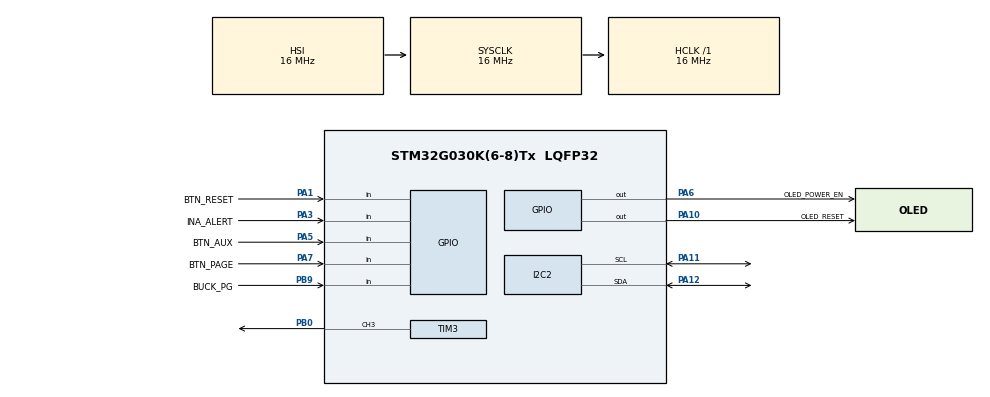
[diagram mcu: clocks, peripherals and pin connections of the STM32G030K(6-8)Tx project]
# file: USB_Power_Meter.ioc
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I2C2.Timing=0x00503D58
Mcu.Family=STM32G0
Mcu.Name=STM32G030K(6-8)Tx
Mcu.Package=LQFP32
PA1.GPIO_Label=BTN_RESET
PA1.GPIO_PuPd=GPIO_PULLUP
PA1.Signal=GPIO_Input
PA10.GPIO_Label=OLED_RESET
PA10.Signal=GPIO_Output
PA11\ [PA9].Mode=I2C
PA11\ [PA9].Signal=I2C2_SCL
PA12\ [PA10].Mode=I2C
PA12\ [PA10].Signal=I2C2_SDA
PA13.Mode=Serial_Wire
PA13.Signal=SYS_SWDIO
PA14-BOOT0.Mode=Serial_Wire
PA14-BOOT0.Signal=SYS_SWCLK
PA3.GPIO_Label=INA_ALERT
PA3.Signal=GPIO_Input
PA5.GPIO_Label=BTN_AUX
PA5.GPIO_PuPd=GPIO_PULLUP
PA5.Signal=GPIO_Input
PA6.GPIO_Label=OLED_POWER_EN
PA6.Signal=GPIO_Output
PA7.GPIO_Label=BTN_PAGE
PA7.GPIO_PuPd=GPIO_PULLUP
PA7.Signal=GPIO_Input
PB0.Signal=S_TIM3_CH3
PB9.GPIO_Label=BUCK_PG
PB9.Signal=GPIO_Input
ProjectManager.HeapSize=0x200
ProjectManager.StackSize=0x400
ProjectManager.TargetToolchain=STM32CubeIDE
RCC.AHBFreq_Value=16000000
RCC.CortexFreq_Value=16000000
RCC.EXTERNAL_CLOCK_VALUE=12288000
RCC.HCLKFreq_Value=16000000
RCC.HSE_VALUE=8000000
RCC.HSI_VALUE=16000000
RCC.LSE_VALUE=32768
RCC.SYSCLKFreq_VALUE=16000000
RCC.VCOOutputFreq_Value=128000000
SH.S_TIM3_CH3.0=TIM3_CH3,PWM Generation3 CH3
TIM3.Channel-PWM\ Generation3\ CH3=TIM_CHANNEL_3
TIM3.Period=999
TIM3.Prescaler=15
TIM3.Pulse-PWM\ Generation3\ CH3=499
board=custom

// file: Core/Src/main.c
/* USER CODE BEGIN Header */
/**
  ******************************************************************************
  * @file           : main.c
  * @brief          : Main program body
  ******************************************************************************
  * @attention
  *
  * Copyright (c) 2026 STMicroelectronics.
  * All rights reserved.
  *
  * This software is licensed under terms that can be found in the LICENSE file
  * in the root directory of this software component.
  * If no LICENSE file comes with this software, it is provided AS-IS.
  *
  ******************************************************************************
  */
/* USER CODE END Header */
#include "main.h"

/* USER CODE BEGIN Includes */
#include "oled.h"
#include "ina238.h"
#include "banana.h"
#include "boot.h"
#include "meter.h"
#include <stdio.h>
/* USER CODE END Includes */

/* USER CODE BEGIN PD */
#define NOTE_C4   262
#define NOTE_D4   294
#define NOTE_E4   330
#define NOTE_F4   349
#define NOTE_G4   392
#define NOTE_A4   440
#define NOTE_B4   494
#define NOTE_C5   523
#define NOTE_D5   587
#define NOTE_E5   659
#define NOTE_F5   698
#define NOTE_G5   784
#define NOTE_REST 0

#define Q   300
#define H   600
#define DQ  450
#define E8  150
/* USER CODE END PD */

I2C_HandleTypeDef hi2c2;

TIM_HandleTypeDef htim3;

/* USER CODE BEGIN PV */
uint8_t g_muted = 0;
/* USER CODE END PV */

void SystemClock_Config(void);
static void MX_GPIO_Init(void);
static void MX_I2C2_Init(void);
static void MX_TIM3_Init(void);
/* USER CODE BEGIN PFP */
void Buzzer_Tone(uint32_t freq_hz, uint32_t duration_ms);
void Buzzer_Off(void);
void Play_Song1(void);
void Play_Song2(void);
void Play_Song3(void);
void HEV_Boot_Sound(void);
/* USER CODE END PFP */

int main(void)
{

  /* MCU Configuration--------------------------------------------------------*/

  /* Reset of all peripherals, Initializes the Flash interface and the Systick. */
  HAL_Init();

  /* Configure the system clock */
  SystemClock_Config();

  /* Initialize all configured peripherals */
  MX_GPIO_Init();
  MX_I2C2_Init();
  MX_TIM3_Init();
  /* USER CODE BEGIN 2 */
  HAL_GPIO_WritePin(OLED_RESET_GPIO_Port, OLED_RESET_Pin, GPIO_PIN_RESET);
  HAL_GPIO_WritePin(OLED_POWER_EN_GPIO_Port, OLED_POWER_EN_Pin, GPIO_PIN_SET);
  HAL_Delay(100);
  HAL_GPIO_WritePin(OLED_RESET_GPIO_Port, OLED_RESET_Pin, GPIO_PIN_SET);
  HAL_Delay(10);
  OLED_Init();
  if (INA238_Init() != HAL_OK)
  {
      OLED_WriteString(3, 0, "INA238 init fail");
      HAL_Delay(2000);
      OLED_Clear();
  }
  HEV_Boot_Sound();
  BOOT_Run();   /* one-shot boot screen with graph animation */
  /* USER CODE END 2 */

  /* Infinite loop */

  /* USER CODE BEGIN 3 */
  METER_Run();   /* handles meter + graph screens + Easter-egg dance; never returns */
  /* USER CODE END 3 */
}

void SystemClock_Config(void)
{
  RCC_OscInitTypeDef RCC_OscInitStruct = {0};
  RCC_ClkInitTypeDef RCC_ClkInitStruct = {0};

  /** Configure the main internal regulator output voltage
  */
  HAL_PWREx_ControlVoltageScaling(PWR_REGULATOR_VOLTAGE_SCALE1);

  /** Initializes the RCC Oscillators according to the specified parameters
  * in the RCC_OscInitTypeDef structure.
  */
  RCC_OscInitStruct.OscillatorType = RCC_OSCILLATORTYPE_HSI;
  RCC_OscInitStruct.HSIState = RCC_HSI_ON;
  RCC_OscInitStruct.HSIDiv = RCC_HSI_DIV1;
  RCC_OscInitStruct.HSICalibrationValue = RCC_HSICALIBRATION_DEFAULT;
  RCC_OscInitStruct.PLL.PLLState = RCC_PLL_NONE;
  if (HAL_RCC_OscConfig(&RCC_OscInitStruct) != HAL_OK)
  {
    Error_Handler();
  }

  /** Initializes the CPU, AHB and APB buses clocks
  */
  RCC_ClkInitStruct.ClockType = RCC_CLOCKTYPE_HCLK|RCC_CLOCKTYPE_SYSCLK
                              |RCC_CLOCKTYPE_PCLK1;
  RCC_ClkInitStruct.SYSCLKSource = RCC_SYSCLKSOURCE_HSI;
  RCC_ClkInitStruct.AHBCLKDivider = RCC_SYSCLK_DIV1;
  RCC_ClkInitStruct.APB1CLKDivider = RCC_HCLK_DIV1;

  if (HAL_RCC_ClockConfig(&RCC_ClkInitStruct, FLASH_LATENCY_0) != HAL_OK)
  {
    Error_Handler();
  }
}

static void MX_I2C2_Init(void)
{

  hi2c2.Instance = I2C2;
  hi2c2.Init.Timing = 0x00503D58;
  hi2c2.Init.OwnAddress1 = 0;
  hi2c2.Init.AddressingMode = I2C_ADDRESSINGMODE_7BIT;
  hi2c2.Init.DualAddressMode = I2C_DUALADDRESS_DISABLE;
  hi2c2.Init.OwnAddress2 = 0;
  hi2c2.Init.OwnAddress2Masks = I2C_OA2_NOMASK;
  hi2c2.Init.GeneralCallMode = I2C_GENERALCALL_DISABLE;
  hi2c2.Init.NoStretchMode = I2C_NOSTRETCH_DISABLE;
  if (HAL_I2C_Init(&hi2c2) != HAL_OK)
  {
    Error_Handler();
  }

  /** Configure Analogue filter
  */
  if (HAL_I2CEx_ConfigAnalogFilter(&hi2c2, I2C_ANALOGFILTER_ENABLE) != HAL_OK)
  {
    Error_Handler();
  }

  /** Configure Digital filter
  */
  if (HAL_I2CEx_ConfigDigitalFilter(&hi2c2, 0) != HAL_OK)
  {
    Error_Handler();
  }

}

static void MX_TIM3_Init(void)
{

  TIM_MasterConfigTypeDef sMasterConfig = {0};
  TIM_OC_InitTypeDef sConfigOC = {0};

  htim3.Instance = TIM3;
  htim3.Init.Prescaler = 15;
  htim3.Init.CounterMode = TIM_COUNTERMODE_UP;
  htim3.Init.Period = 999;
  htim3.Init.ClockDivision = TIM_CLOCKDIVISION_DIV1;
  htim3.Init.AutoReloadPreload = TIM_AUTORELOAD_PRELOAD_DISABLE;
  if (HAL_TIM_PWM_Init(&htim3) != HAL_OK)
  {
    Error_Handler();
  }
  sMasterConfig.MasterOutputTrigger = TIM_TRGO_RESET;
  sMasterConfig.MasterSlaveMode = TIM_MASTERSLAVEMODE_DISABLE;
  if (HAL_TIMEx_MasterConfigSynchronization(&htim3, &sMasterConfig) != HAL_OK)
  {
    Error_Handler();
  }
  sConfigOC.OCMode = TIM_OCMODE_PWM1;
  sConfigOC.Pulse = 499;
  sConfigOC.OCPolarity = TIM_OCPOLARITY_HIGH;
  sConfigOC.OCFastMode = TIM_OCFAST_DISABLE;
  if (HAL_TIM_PWM_ConfigChannel(&htim3, &sConfigOC, TIM_CHANNEL_3) != HAL_OK)
  {
    Error_Handler();
  }
  HAL_TIM_MspPostInit(&htim3);

}

static void MX_GPIO_Init(void)
{
  GPIO_InitTypeDef GPIO_InitStruct = {0};

  /* GPIO Ports Clock Enable */
  __HAL_RCC_GPIOB_CLK_ENABLE();
  __HAL_RCC_GPIOA_CLK_ENABLE();

  /*Configure GPIO pin Output Level */
  HAL_GPIO_WritePin(GPIOA, OLED_POWER_EN_Pin|OLED_RESET_Pin, GPIO_PIN_RESET);

  /*Configure GPIO pin : BUCK_PG_Pin */
  GPIO_InitStruct.Pin = BUCK_PG_Pin;
  GPIO_InitStruct.Mode = GPIO_MODE_INPUT;
  GPIO_InitStruct.Pull = GPIO_NOPULL;
  HAL_GPIO_Init(BUCK_PG_GPIO_Port, &GPIO_InitStruct);

  /*Configure GPIO pins : BTN_RESET_Pin BTN_AUX_Pin BTN_PAGE_Pin */
  GPIO_InitStruct.Pin = BTN_RESET_Pin|BTN_AUX_Pin|BTN_PAGE_Pin;
  GPIO_InitStruct.Mode = GPIO_MODE_INPUT;
  GPIO_InitStruct.Pull = GPIO_PULLUP;
  HAL_GPIO_Init(GPIOA, &GPIO_InitStruct);

  /*Configure GPIO pin : INA_ALERT_Pin */
  GPIO_InitStruct.Pin = INA_ALERT_Pin;
  GPIO_InitStruct.Mode = GPIO_MODE_INPUT;
  GPIO_InitStruct.Pull = GPIO_NOPULL;
  HAL_GPIO_Init(INA_ALERT_GPIO_Port, &GPIO_InitStruct);

  /*Configure GPIO pins : OLED_POWER_EN_Pin OLED_RESET_Pin */
  GPIO_InitStruct.Pin = OLED_POWER_EN_Pin|OLED_RESET_Pin;
  GPIO_InitStruct.Mode = GPIO_MODE_OUTPUT_PP;
  GPIO_InitStruct.Pull = GPIO_NOPULL;
  GPIO_InitStruct.Speed = GPIO_SPEED_FREQ_LOW;
  HAL_GPIO_Init(GPIOA, &GPIO_InitStruct);

}

/* USER CODE BEGIN 4 */

void Buzzer_Off(void)
{
  HAL_TIM_PWM_Stop(&htim3, TIM_CHANNEL_3);
}

void Buzzer_Tone(uint32_t freq_hz, uint32_t duration_ms)
{
  if (freq_hz == NOTE_REST)
  {
    Buzzer_Off();
    HAL_Delay(duration_ms);
    return;
  }
  uint32_t arr = (1000000UL / freq_hz) - 1;
  __HAL_TIM_SET_AUTORELOAD(&htim3, arr);
  __HAL_TIM_SET_COMPARE(&htim3, TIM_CHANNEL_3, arr / 2);
  HAL_TIM_PWM_Start(&htim3, TIM_CHANNEL_3);
  HAL_Delay(duration_ms - 40);
  Buzzer_Off();
  HAL_Delay(40);
}

void Play_Song1(void)
{
  /* Twinkle Twinkle Little Star — BTN_RESET */
  static const uint32_t melody[][2] = {
    {NOTE_C4, Q}, {NOTE_C4, Q}, {NOTE_G4, Q}, {NOTE_G4, Q},
    {NOTE_A4, Q}, {NOTE_A4, Q}, {NOTE_G4, H},
    {NOTE_F4, Q}, {NOTE_F4, Q}, {NOTE_E4, Q}, {NOTE_E4, Q},
    {NOTE_D4, Q}, {NOTE_D4, Q}, {NOTE_C4, H},
    {NOTE_G4, Q}, {NOTE_G4, Q}, {NOTE_F4, Q}, {NOTE_F4, Q},
    {NOTE_E4, Q}, {NOTE_E4, Q}, {NOTE_D4, H},
    {NOTE_G4, Q}, {NOTE_G4, Q}, {NOTE_F4, Q}, {NOTE_F4, Q},
    {NOTE_E4, Q}, {NOTE_E4, Q}, {NOTE_D4, H},
    {NOTE_C4, Q}, {NOTE_C4, Q}, {NOTE_G4, Q}, {NOTE_G4, Q},
    {NOTE_A4, Q}, {NOTE_A4, Q}, {NOTE_G4, H},
    {NOTE_F4, Q}, {NOTE_F4, Q}, {NOTE_E4, Q}, {NOTE_E4, Q},
    {NOTE_D4, Q}, {NOTE_D4, Q}, {NOTE_C4, H},
  };
  for (uint32_t i = 0; i < sizeof(melody) / sizeof(melody[0]); i++)
    Buzzer_Tone(melody[i][0], melody[i][1]);
}

void Play_Song2(void)
{
  /* Happy Birthday — BTN_AUX */
  static const uint32_t melody[][2] = {
    {NOTE_G4, DQ}, {NOTE_G4, E8}, {NOTE_A4, Q}, {NOTE_G4, Q}, {NOTE_C5, Q}, {NOTE_B4, H}, {NOTE_REST, Q},
    {NOTE_G4, DQ}, {NOTE_G4, E8}, {NOTE_A4, Q}, {NOTE_G4, Q}, {NOTE_D5, Q}, {NOTE_C5, H}, {NOTE_REST, Q},
    {NOTE_G4, DQ}, {NOTE_G4, E8}, {NOTE_G5, Q}, {NOTE_E5, Q}, {NOTE_C5, Q}, {NOTE_B4, Q}, {NOTE_A4, H}, {NOTE_REST, Q},
    {NOTE_F5, DQ}, {NOTE_F5, E8}, {NOTE_E5, Q}, {NOTE_C5, Q}, {NOTE_D5, Q}, {NOTE_C5, H},
  };
  for (uint32_t i = 0; i < sizeof(melody) / sizeof(melody[0]); i++)
    Buzzer_Tone(melody[i][0], melody[i][1]);
}

void Play_Song3(void)
{
  /* Mary Had a Little Lamb — BTN_PAGE */
  static const uint32_t melody[][2] = {
    {NOTE_E4, Q}, {NOTE_D4, Q}, {NOTE_C4, Q}, {NOTE_D4, Q},
    {NOTE_E4, Q}, {NOTE_E4, Q}, {NOTE_E4, H},
    {NOTE_D4, Q}, {NOTE_D4, Q}, {NOTE_D4, H},
    {NOTE_E4, Q}, {NOTE_G4, Q}, {NOTE_G4, H},
    {NOTE_E4, Q}, {NOTE_D4, Q}, {NOTE_C4, Q}, {NOTE_D4, Q},
    {NOTE_E4, Q}, {NOTE_E4, Q}, {NOTE_E4, Q}, {NOTE_E4, Q},
    {NOTE_D4, Q}, {NOTE_D4, Q}, {NOTE_E4, Q}, {NOTE_D4, Q},
    {NOTE_C4, H},
  };
  for (uint32_t i = 0; i < sizeof(melody) / sizeof(melody[0]); i++)
    Buzzer_Tone(melody[i][0], melody[i][1]);
}

void HEV_Boot_Sound(void)
{
  /* Rising exponential sweep — simulates HEV capacitor charge */
  static const uint32_t sweep_f[] = { 120, 160, 210, 270, 340, 420, 510, 610, 720, 840 };
  static const uint16_t sweep_d[] = {  55,  45,  38,  32,  28,  25,  23,  22,  22,  60 };
  for (int i = 0; i < 10; i++)
  {
    uint32_t arr = (1000000UL / sweep_f[i]) - 1;
    __HAL_TIM_SET_AUTORELOAD(&htim3, arr);
    __HAL_TIM_SET_COMPARE(&htim3, TIM_CHANNEL_3, arr / 2);
    HAL_TIM_PWM_Start(&htim3, TIM_CHANNEL_3);
    HAL_Delay(sweep_d[i]);
  }
  HAL_TIM_PWM_Stop(&htim3, TIM_CHANNEL_3);
  HAL_Delay(90);

  /* Three ascending confirmation tones — "HEV suit activated" */
  Buzzer_Tone(784,  90);   /* G5 */
  Buzzer_Tone(988,  90);   /* B5 */
  Buzzer_Tone(1319, 220);  /* E6 */
}
/* USER CODE END 4 */

void Error_Handler(void)
{
  __disable_irq();
  while (1)
  {
  }
}
